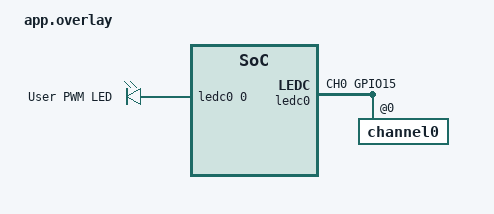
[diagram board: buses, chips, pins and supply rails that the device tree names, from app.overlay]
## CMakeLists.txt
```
# SPDX-License-Identifier: Apache-2.0

cmake_minimum_required(VERSION 3.20.0)
find_package(Zephyr REQUIRED HINTS $ENV{ZEPHYR_BASE})
project(06_pwm_fade)

target_sources(app PRIVATE src/main.c)
```

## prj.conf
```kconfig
# Lab 06 PWM Breathing LED - Kconfig
CONFIG_PWM=y
CONFIG_LOG=y
CONFIG_LOG_DEFAULT_LEVEL=3
CONFIG_PRINTK=y
```

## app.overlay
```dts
/*
 * Devicetree overlay for Lab 06: PWM Breathing LED
 * Configures the onboard Yellow LED (GPIO 15) using the ESP32-C6 LEDC PWM controller.
 */

#include <zephyr/dt-bindings/pwm/pwm.h>

/ {
	pwmleds {
		compatible = "pwm-leds";
		pwm_led0: pwm_led_0 {
			pwms = <&ledc0 0 PWM_HZ(1000) PWM_POLARITY_INVERTED>;
			label = "User PWM LED";
		};
	};

	aliases {
		pwm-led0 = &pwm_led0;
	};
};

&pinctrl {
	ledc0_default: ledc0_default {
		group1 {
			pinmux = <LEDC_CH0_GPIO15>;
			output-low;
		};
	};
};

&ledc0 {
	pinctrl-0 = <&ledc0_default>;
	pinctrl-names = "default";
	status = "okay";
	#address-cells = <1>;
	#size-cells = <0>;
	channel0@0 {
		reg = <0x0>;
		timer = <0>;
	};
};
```

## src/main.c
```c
/*
 * Lab 06: Hardware PWM & Breathing LED
 * Board: Seeed Studio XIAO ESP32C6
 *
 * Description:
 * Demonstrates Zephyr's Hardware PWM subsystem:
 * 1. Retrieves PWM specification from devicetree alias (pwm_led0).
 * 2. Checks pwm_is_ready_dt().
 * 3. Modulates the pulse width (duty cycle) in small incremental steps
 *    to create a smooth, organic "breathing" LED effect.
 */

#include <zephyr/kernel.h>
#include <zephyr/drivers/pwm.h>
#include <zephyr/logging/log.h>

LOG_MODULE_REGISTER(lab06_pwm, LOG_LEVEL_INF);

/* Devicetree PWM LED specification */
static const struct pwm_dt_spec pwm_led0 = PWM_DT_SPEC_GET(DT_ALIAS(pwm_led0));

#define STEP_SIZE_PCT   2       /* Increment/decrement by 2% each step */
#define STEP_DELAY_MS   25      /* Delay between brightness updates */

int main(void)
{
	uint32_t period = pwm_led0.period;
	uint32_t pulse = 0;
	int dir = 1; /* 1 = brightening, -1 = dimming */
	int pct = 0;
	int ret;

	LOG_INF("==========================================================");
	LOG_INF("  Seeed Studio XIAO ESP32C6 - Lab 06 PWM Breathing LED    ");
	LOG_INF("==========================================================");

	if (!pwm_is_ready_dt(&pwm_led0)) {
		LOG_ERR("Error: PWM device %s is not ready!", pwm_led0.dev->name);
		return 0;
	}

	LOG_INF("PWM Device: %s, Channel: %d, Period: %u ns",
		pwm_led0.dev->name, pwm_led0.channel, period);
	LOG_INF("Starting breathing LED modulation...");

	while (1) {
		/* Calculate pulse width based on current percentage */
		pulse = (uint64_t)period * pct / 100;

		ret = pwm_set_pulse_dt(&pwm_led0, pulse);
		if (ret < 0) {
			LOG_ERR("pwm_set_pulse_dt failed: %d", ret);
			return 0;
		}

		/* Update percentage and change direction at extremes */
		pct += (dir * STEP_SIZE_PCT);
		if (pct >= 100) {
			pct = 100;
			dir = -1;
		} else if (pct <= 0) {
			pct = 0;
			dir = 1;
		}

		k_msleep(STEP_DELAY_MS);
	}

	return 0;
}
```
